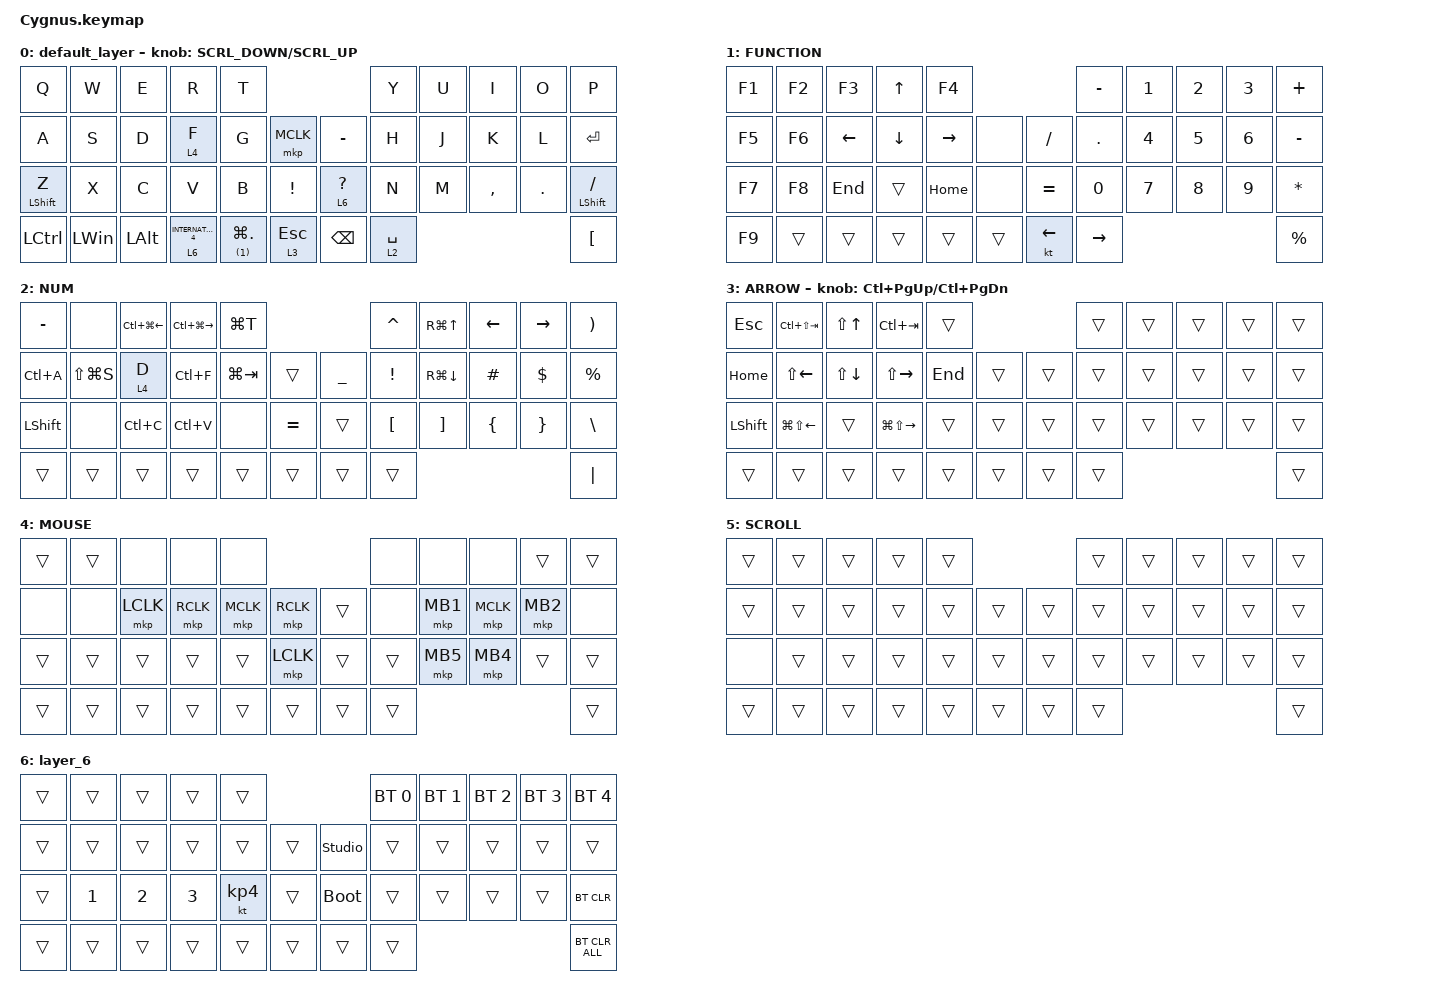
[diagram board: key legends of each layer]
#define ZMK_POINTING_DEFAULT_SCRL_VAL 120    // default: 10

#include <behaviors.dtsi>
#include <dt-bindings/zmk/bt.h>
#include <dt-bindings/zmk/keys.h>
#include <dt-bindings/zmk/pointing.h>

#define MOUSE 4
#define SCROLL 5
#define NUM 6

&mt {
    flavor = "balanced";
    quick-tap-ms = <0>;
};

/ {
    combos {
        compatible = "zmk,combos";

        double_quotation {
            bindings = <&kp DOUBLE_QUOTES>;
            key-positions = <20 21>;
        };

        tab {
            bindings = <&kp TAB>;
            key-positions = <13 12>;
        };

        shift-tab {
            bindings = <&kp LS(TAB)>;
            key-positions = <11 12>;
        };

        scroll {
            bindings = <&lt 5 N5>;
            key-positions = <19 20>;
        };

        chrome-tab {
            bindings = <&kp LC(TAB)>;
            key-positions = <2 3>;
        };

        browsertab1 {
            bindings = <&kp LS(LC(TAB))>;
            key-positions = <1 2>;
        };

        browsertabESC {
            bindings = <&kp LC(W)>;
            key-positions = <3 4>;
        };

        taskManager {
            bindings = <&kp LC(LA(DELETE))>;
            key-positions = <30 31 32>;
        };

        WordCommand {
            bindings = <&kp RS(LS(F9))>;
            key-positions = <18 19 20>;
        };

        LINE {
            bindings = <&kp RA(LA(ENTER))>;
            key-positions = <18 19>;
        };
    };

    macros {
        to_layer_0: to_layer_0 {
            compatible = "zmk,behavior-macro-one-param";
            #binding-cells = <1>;
            bindings = <&to 0 &macro_param_1to1 &kp MACRO_PLACEHOLDER>;
            label = "TO_LAYER_0";
        };
    };

    behaviors {
        lt_to_layer_0: lt_to_layer_0 {
            compatible = "zmk,behavior-hold-tap";
            label = "LAYER_TAP_TO_0";
            bindings = <&mo>, <&to_layer_0>;

            #binding-cells = <2>;
            tapping-term-ms = <200>;
        };

        ROTATE: ROTATE {
            compatible = "zmk,behavior-sensor-rotate-var";
            label = "ROTATE";
            #sensor-binding-cells = <2>;
            bindings = <&msc>, <&msc>;

            tap-ms = <20>;
        };
    };

    keymap {
        compatible = "zmk,keymap";

        default_layer {
            bindings = <
&kp Q             &kp W         &kp E         &kp R                             &kp T                                                    &kp Y        &kp U  &kp I      &kp O    &kp P
&kp A             &kp S         &kp D         &lt 4 F                           &kp G               &mkp MCLK            &kp MINUS       &kp H        &kp J  &kp K      &kp L    &kp ENTER
&mt LEFT_SHIFT Z  &kp X         &kp C         &kp V                             &kp B               &kp EXCLAMATION      &lt 6 QUESTION  &kp N        &kp M  &kp COMMA  &kp DOT  &mt LEFT_SHIFT SLASH
&kp LCTRL         &kp LEFT_WIN  &kp LEFT_ALT  &lt_to_layer_0 6 INTERNATIONAL_4  &lt (1) LG(PERIOD)  &lt 3 ESC            &kp BACKSPACE   &lt 2 SPACE                             &kp LBKT
            >;

            sensor-bindings = <&ROTATE SCRL_DOWN SCRL_UP>;
        };

        FUNCTION {
            bindings = <
&kp F1  &kp F2  &kp F3    &kp UP_ARROW  &kp F4                            &kp MINUS     &kp NUMBER_1  &kp NUMBER_2  &kp NUMBER_3  &kp PLUS
&kp F5  &kp F6  &kp LEFT  &kp DOWN      &kp RIGHT  &none       &kp SLASH  &kp PERIOD    &kp NUMBER_4  &kp NUMBER_5  &kp NUMBER_6  &kp MINUS
&kp F7  &kp F8  &kp END   &trans        &kp HOME   &none       &kp EQUAL  &kp NUMBER_0  &kp NUMBER_7  &kp NUMBER_8  &kp NUMBER_9  &kp ASTRK
&kp F9  &trans  &trans    &trans        &trans     &trans      &kt LEFT   &kp RIGHT                                               &kp PERCENT
            >;
        };

        NUM {
            bindings = <
&kp MINUS       &none          &kp LC(LG(LEFT))  &kp LC(LG(RIGHT))  &kp LG(T)                                   &kp CARET         &kp RG(UP_ARROW)   &kp LEFT        &kp RIGHT        &kp RIGHT_PARENTHESIS
&kp LC(A)       &kp LS(LG(S))  &lt 4 D           &kp LC(F)          &kp LG(TAB)  &trans         &kp UNDERSCORE  &kp EXCLAMATION   &kp RG(DOWN)       &kp HASH        &kp DOLLAR       &kp PERCENT
&kp LEFT_SHIFT  &none          &kp LC(C)         &kp LC(V)          &none        &kp EQUAL      &trans          &kp LEFT_BRACKET  &kp RIGHT_BRACKET  &kp LEFT_BRACE  &kp RIGHT_BRACE  &kp BACKSLASH
&trans          &trans         &trans            &trans             &trans       &trans         &trans          &trans                                                                &kp PIPE
            >;
        };

        ARROW {
            bindings = <
&kp ESCAPE      &kp LC(LS(TAB))         &kp LS(UP_ARROW)    &kp LC(TAB)              &trans                       &trans  &trans  &trans  &trans  &trans
&kp HOME        &kp LS(LEFT_ARROW)      &kp LS(DOWN_ARROW)  &kp LS(RIGHT_ARROW)      &kp END  &trans      &trans  &trans  &trans  &trans  &trans  &trans
&kp LEFT_SHIFT  &kp LG(LS(LEFT_ARROW))  &trans              &kp LG(LS(RIGHT_ARROW))  &trans   &trans      &trans  &trans  &trans  &trans  &trans  &trans
&trans          &trans                  &trans              &trans                   &trans   &trans      &trans  &trans                          &trans
            >;

            sensor-bindings = <&inc_dec_kp LC(PAGE_UP) LC(PAGE_DOWN)>;
        };

        MOUSE {
            bindings = <
&trans  &trans  &none      &none      &none                             &none   &none     &none      &trans    &trans
&none   &none   &mkp LCLK  &mkp RCLK  &mkp MCLK  &mkp RCLK      &trans  &none   &mkp MB1  &mkp MCLK  &mkp MB2  &none
&trans  &trans  &trans     &trans     &trans     &mkp LCLK      &trans  &trans  &mkp MB5  &mkp MB4   &trans    &trans
&trans  &trans  &trans     &trans     &trans     &trans         &trans  &trans                                 &trans
            >;
        };

        SCROLL {
            bindings = <
&trans  &trans  &trans  &trans  &trans                      &trans  &trans  &trans  &trans  &trans
&trans  &trans  &trans  &trans  &trans  &trans      &trans  &trans  &trans  &trans  &trans  &trans
&none   &trans  &trans  &trans  &trans  &trans      &trans  &trans  &trans  &trans  &trans  &trans
&trans  &trans  &trans  &trans  &trans  &trans      &trans  &trans                          &trans
            >;
        };

        layer_6 {
            bindings = <
&trans  &trans        &trans        &trans        &trans                                 &bt BT_SEL 0  &bt BT_SEL 1  &bt BT_SEL 2  &bt BT_SEL 3  &bt BT_SEL 4
&trans  &trans        &trans        &trans        &trans     &trans      &studio_unlock  &trans        &trans        &trans        &trans        &trans
&trans  &kp NUMBER_1  &kp NUMBER_2  &kp NUMBER_3  &kt KP_N4  &trans      &bootloader     &trans        &trans        &trans        &trans        &bt BT_CLR
&trans  &trans        &trans        &trans        &trans     &trans      &trans          &trans                                                  &bt BT_CLR_ALL
            >;
        };
    };
};
